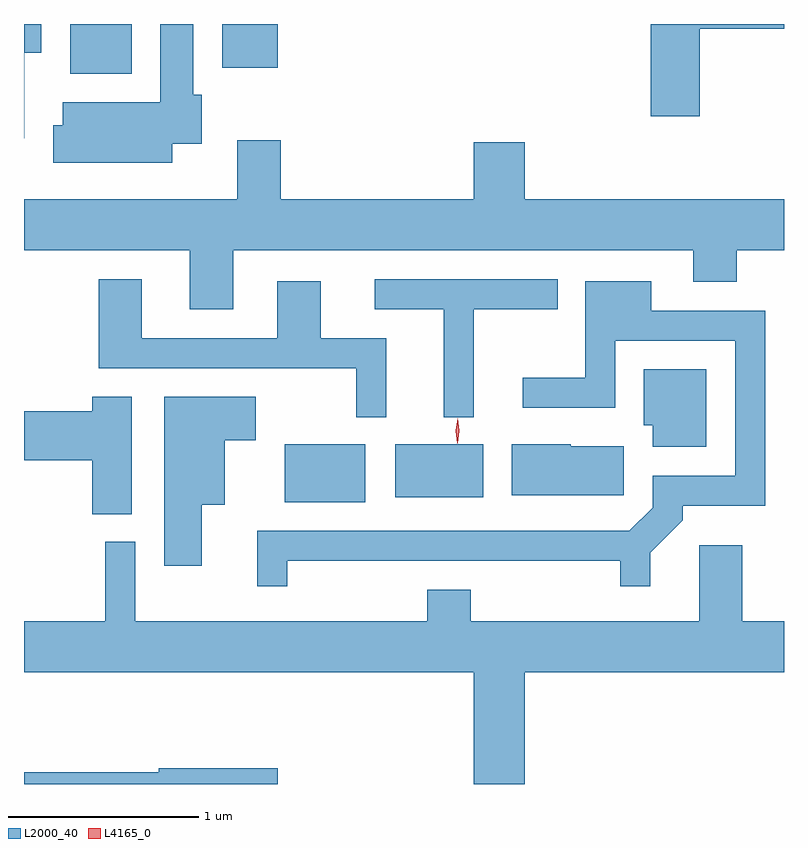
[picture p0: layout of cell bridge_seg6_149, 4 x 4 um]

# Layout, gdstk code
import gdstk
lib = gdstk.Library(unit=1e-6, precision=1e-09)
def R(c, l, rs):  # rectangles x0, y0, x1, y1
    for r in rs: c.add(gdstk.rectangle(r[:2], r[2:], *l))
def P(c, l, *ps):  # polygons
    for p in ps: c.add(gdstk.Polygon(p, *l))
L2000_40 = (2000, 40)
L4165_0 = (4165, 0)

bridge_seg6_149 = lib.new_cell('bridge_seg6_149')
R(bridge_seg6_149, L2000_40, [(1213.081,1582.011,1213.504,1582.314), (1213.661,1582.036,1214.124,1582.314), (1211.951,1584.266,1212.274,1584.527), (1212.751,1584.296,1213.044,1584.527)])
P(bridge_seg6_149, L2000_40, [(1211.709,1584.376),(1211.799,1584.376),(1211.799,1584.527),(1211.708,1584.527),(1211.708,1583.926),(1211.709,1583.926)],
  [(1215.264,1584.501),(1215.708,1584.501),(1215.708,1584.527),(1215.006,1584.527),(1215.006,1584.041),(1215.264,1584.041)],
  [(1212.489,1583.896),(1212.644,1583.896),(1212.644,1584.154),(1212.599,1584.154),(1212.599,1584.527),(1212.426,1584.527),(1212.426,1584.114),(1211.911,1584.114),(1211.911,1583.994),(1211.861,1583.994),(1211.861,1583.796),(1212.489,1583.796)],
  [(1212.809,1583.336),(1215.231,1583.336),(1215.231,1583.171),(1215.459,1583.171),(1215.459,1583.336),(1215.708,1583.336),(1215.708,1583.604),(1214.344,1583.604),(1214.344,1583.904),(1214.076,1583.904),(1214.076,1583.604),(1213.059,1583.604),(1213.059,1583.914),(1212.831,1583.914),(1212.831,1583.604),(1211.708,1583.604),(1211.708,1583.336),(1212.581,1583.336),(1212.581,1583.026),(1212.809,1583.026)],
  [(1214.074,1583.026),(1214.518,1583.026),(1214.518,1583.184),(1213.553,1583.184),(1213.553,1583.026),(1213.916,1583.026),(1213.916,1582.458),(1214.074,1582.458)],
  [(1213.614,1582.874),(1213.269,1582.874),(1213.269,1583.174),(1213.041,1583.174),(1213.041,1582.874),(1212.329,1582.874),(1212.329,1583.184),(1212.101,1583.184),(1212.101,1582.716),(1213.456,1582.716),(1213.456,1582.458),(1213.614,1582.458)],
  [(1213.094,1581.701),(1214.846,1581.701),(1214.846,1581.568),(1215.004,1581.568),(1215.004,1581.744),(1215.174,1581.914),(1215.174,1581.991),(1215.609,1581.991),(1215.609,1583.019),(1215.009,1583.019),(1215.009,1583.174),(1214.661,1583.174),(1214.661,1582.664),(1214.333,1582.664),(1214.333,1582.506),(1214.819,1582.506),(1214.819,1582.861),(1215.451,1582.861),(1215.451,1582.149),(1215.016,1582.149),(1215.016,1581.982),(1214.894,1581.859),(1212.936,1581.859),(1212.936,1581.568),(1213.094,1581.568)],
  [(1215.299,1582.709),(1214.971,1582.709),(1214.971,1582.416),(1215.016,1582.416),(1215.016,1582.301),(1215.299,1582.301)],
  [(1212.274,1582.564),(1212.066,1582.564),(1212.066,1582.489),(1211.708,1582.489),(1211.708,1582.231),(1212.066,1582.231),(1212.066,1581.946),(1212.274,1581.946)],
  [(1212.644,1581.996),(1212.764,1581.996),(1212.764,1582.336),(1212.929,1582.336),(1212.929,1582.564),(1212.446,1582.564),(1212.446,1581.676),(1212.644,1581.676)],
  [(1214.864,1582.304),(1214.585,1582.304),(1214.585,1582.314),(1214.276,1582.314),(1214.276,1582.046),(1214.864,1582.046)],
  [(1214.344,1581.116),(1215.708,1581.116),(1215.708,1581.384),(1215.489,1581.384),(1215.489,1581.784),(1215.261,1581.784),(1215.261,1581.384),(1214.059,1581.384),(1214.059,1581.549),(1213.831,1581.549),(1213.831,1581.384),(1212.294,1581.384),(1212.294,1581.803),(1212.136,1581.803),(1212.136,1581.384),(1211.708,1581.384),(1211.708,1581.116),(1214.076,1581.116),(1214.076,1580.527),(1214.344,1580.527)],
  [(1213.044,1580.609),(1212.416,1580.609),(1212.416,1580.589),(1211.708,1580.589),(1211.708,1580.527),(1213.044,1580.527)])
P(bridge_seg6_149, L4165_0, [(1213.989,1582.321),(1213.989,1582.321),(1213.98,1582.387),(1213.991,1582.452),(1213.992,1582.452),(1213.992,1582.452),(1214,1582.386),(1213.99,1582.321)])

lib.write_gds('bridge_seg6_149.gds')
